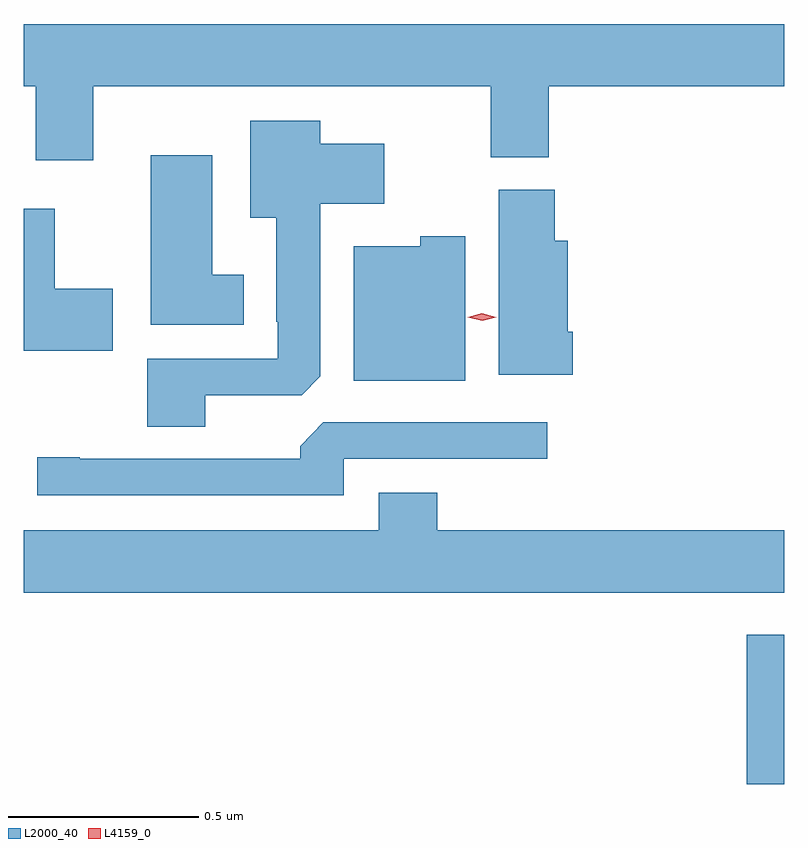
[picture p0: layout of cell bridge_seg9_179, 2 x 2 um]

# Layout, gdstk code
import gdstk
lib = gdstk.Library(unit=1e-6, precision=1e-09)
def R(c, l, rs):  # rectangles x0, y0, x1, y1
    for r in rs: c.add(gdstk.rectangle(r[:2], r[2:], *l))
def P(c, l, *ps):  # polygons
    for p in ps: c.add(gdstk.Polygon(p, *l))
L2000_40 = (2000, 40)
L4159_0 = (4159, 0)

bridge_seg9_179 = lib.new_cell('bridge_seg9_179')
R(bridge_seg9_179, L2000_40, [(151.795,1237.209,151.893,1237.602)])
P(bridge_seg9_179, L2000_40, [(150.076,1239.044),(151.121,1239.044),(151.121,1238.857),(151.274,1238.857),(151.274,1239.044),(151.893,1239.044),(151.893,1239.208),(149.893,1239.208),(149.893,1239.044),(149.924,1239.044),(149.924,1238.85),(150.076,1238.85)],
  [(150.37,1238.232),(150.624,1238.232),(150.673,1238.281),(150.673,1238.735),(150.841,1238.735),(150.841,1238.893),(150.673,1238.893),(150.673,1238.953),(150.488,1238.953),(150.488,1238.699),(150.557,1238.699),(150.557,1238.425),(150.561,1238.425),(150.561,1238.328),(150.218,1238.328),(150.218,1238.149),(150.37,1238.149)],
  [(150.472,1238.548),(150.388,1238.548),(150.388,1238.863),(150.227,1238.863),(150.227,1238.417),(150.472,1238.417)],
  [(151.337,1238.398),(151.324,1238.398),(151.324,1238.638),(151.289,1238.638),(151.289,1238.772),(151.142,1238.772),(151.142,1238.286),(151.337,1238.286)],
  [(150.127,1238.511),(149.974,1238.511),(149.974,1238.722),(149.893,1238.722),(149.893,1238.348),(150.127,1238.348)],
  [(151.054,1238.65),(150.936,1238.65),(150.936,1238.623),(150.761,1238.623),(150.761,1238.27),(151.054,1238.27)],
  [(150.735,1238.064),(151.27,1238.064),(151.27,1238.16),(150.681,1238.16),(150.62,1238.098),(150.62,1238.064),(150.04,1238.064),(150.04,1238.069),(149.928,1238.069),(149.928,1237.968),(150.735,1237.968)],
  [(151.893,1237.876),(150.98,1237.876),(150.98,1237.975),(150.827,1237.975),(150.827,1237.876),(149.893,1237.876),(149.893,1237.712),(151.893,1237.712)])
P(bridge_seg9_179, L4159_0, [(151.099,1238.427),(151.061,1238.437),(151.061,1238.437),(151.061,1238.437),(151.098,1238.447),(151.136,1238.437),(151.136,1238.437),(151.136,1238.437)])

lib.write_gds('bridge_seg9_179.gds')
